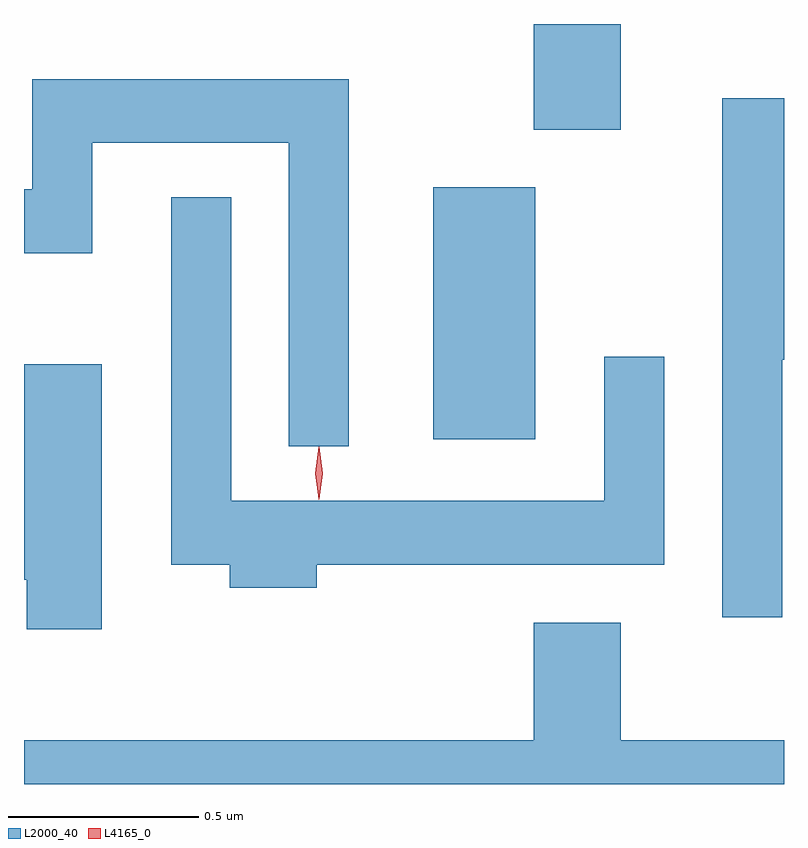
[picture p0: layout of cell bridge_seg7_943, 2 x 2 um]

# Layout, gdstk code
import gdstk
lib = gdstk.Library(unit=1e-6, precision=1e-09)
def R(c, l, rs):  # rectangles x0, y0, x1, y1
    for r in rs: c.add(gdstk.rectangle(r[:2], r[2:], *l))
def P(c, l, *ps):  # polygons
    for p in ps: c.add(gdstk.Polygon(p, *l))
L2000_40 = (2000, 40)
L4165_0 = (4165, 0)

bridge_seg7_943 = lib.new_cell('bridge_seg7_943')
R(bridge_seg7_943, L2000_40, [(425.046,1708.716,425.314,1709.379), (425.311,1709.531,425.539,1709.809)])
P(bridge_seg7_943, L2000_40, [(424.824,1709.664),(423.991,1709.664),(423.991,1709.374),(423.969,1709.374),(423.969,1709.206),(424.149,1709.206),(424.149,1709.496),(424.666,1709.496),(424.666,1708.698),(424.824,1708.698)],
  [(425.964,1708.926),(425.969,1708.926),(425.969,1709.614),(425.806,1709.614),(425.806,1708.248),(425.964,1708.248)],
  [(424.739,1708.386),(425.654,1708.386),(425.654,1708.933),(425.496,1708.933),(425.496,1708.554),(424.514,1708.554),(424.514,1709.353),(424.356,1709.353),(424.356,1708.386),(424.511,1708.386),(424.511,1708.326),(424.739,1708.326)],
  [(424.174,1708.914),(423.969,1708.914),(423.969,1708.346),(423.976,1708.346),(423.976,1708.216),(424.174,1708.216)],
  [(425.969,1707.924),(425.539,1707.924),(425.539,1708.234),(425.311,1708.234),(425.311,1707.924),(423.969,1707.924),(423.969,1707.809),(425.969,1707.809)])
P(bridge_seg7_943, L4165_0, [(424.745,1708.557),(424.745,1708.558),(424.735,1708.627),(424.745,1708.696),(424.745,1708.696),(424.746,1708.696),(424.755,1708.627),(424.746,1708.558)],
  [(424.745,1708.559),(424.744,1708.56),(424.735,1708.626),(424.744,1708.692),(424.745,1708.693),(424.745,1708.692),(424.755,1708.626),(424.745,1708.56)])

lib.write_gds('bridge_seg7_943.gds')
